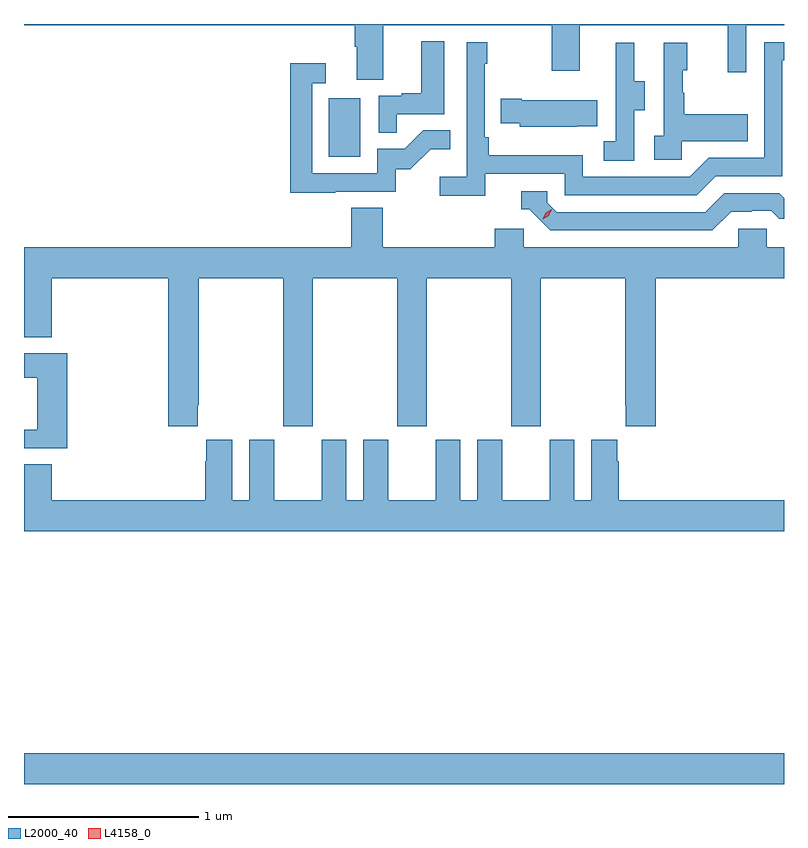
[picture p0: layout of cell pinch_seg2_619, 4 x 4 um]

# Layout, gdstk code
import gdstk
lib = gdstk.Library(unit=1e-6, precision=1e-09)
def R(c, l, rs):  # rectangles x0, y0, x1, y1
    for r in rs: c.add(gdstk.rectangle(r[:2], r[2:], *l))
def P(c, l, *ps):  # polygons
    for p in ps: c.add(gdstk.Polygon(p, *l))
L2000_40 = (2000, 40)
L4158_0 = (4158, 0)

pinch_seg2_619 = lib.new_cell('pinch_seg2_619')
R(pinch_seg2_619, L2000_40, [(1035.953,618.335,1039.953,618.496), (1037.558,621.636,1037.722,621.943)])
P(pinch_seg2_619, L2000_40, [(1037.845,622.328),(1038.73,622.328),(1038.73,622.089),(1038.877,622.089),(1038.877,622.328),(1039.658,622.328),(1039.658,622.08),(1039.755,622.08),(1039.755,622.328),(1039.953,622.328),(1039.953,622.335),(1035.953,622.335),(1035.953,622.328),(1037.693,622.328),(1037.693,622.216),(1037.705,622.216),(1037.705,622.042),(1037.845,622.042)],
  [(1037.915,621.861),(1038.166,621.861),(1038.166,622.243),(1038.044,622.243),(1038.044,621.97),(1037.941,621.97),(1037.941,621.957),(1037.82,621.957),(1037.82,621.763),(1037.915,621.763)],
  [(1038.38,621.546),(1038.798,621.546),(1038.798,621.435),(1039.495,621.435),(1039.594,621.534),(1039.944,621.534),(1039.944,622.143),(1039.953,622.143),(1039.953,622.239),(1039.848,622.239),(1039.848,621.63),(1039.557,621.63),(1039.458,621.531),(1038.894,621.531),(1038.894,621.643),(1038.398,621.643),(1038.398,621.739),(1038.378,621.739),(1038.378,622.127),(1038.391,622.127),(1038.391,622.24),(1038.282,622.24),(1038.282,621.532),(1038.141,621.532),(1038.141,621.43),(1038.38,621.43)],
  [(1039.164,621.88),(1039.219,621.88),(1039.219,622.035),(1039.165,622.035),(1039.165,622.237),(1039.067,622.237),(1039.067,622.023),(1039.068,622.023),(1039.068,621.719),(1039.005,621.719),(1039.005,621.616),(1039.164,621.616)],
  [(1039.416,621.719),(1039.763,621.719),(1039.763,621.859),(1039.429,621.859),(1039.429,621.974),(1039.419,621.974),(1039.419,622.092),(1039.444,622.092),(1039.444,622.237),(1039.32,622.237),(1039.32,621.746),(1039.269,621.746),(1039.269,621.621),(1039.416,621.621)],
  [(1037.591,621.453),(1037.91,621.453),(1037.91,621.57),(1037.986,621.57),(1038.093,621.677),(1038.197,621.677),(1038.197,621.776),(1038.054,621.776),(1037.956,621.678),(1037.811,621.678),(1037.811,621.549),(1037.469,621.549),(1037.469,622.023),(1037.542,622.023),(1037.542,622.129),(1037.353,622.129),(1037.353,621.448),(1037.591,621.448)],
  [(1038.863,621.797),(1038.971,621.797),(1038.971,621.934),(1038.574,621.934),(1038.574,621.942),(1038.463,621.942),(1038.463,621.812),(1038.561,621.812),(1038.561,621.794),(1038.863,621.794)],
  [(1039.675,621.348),(1039.782,621.348),(1039.782,621.351),(1039.885,621.351),(1039.927,621.309),(1039.953,621.309),(1039.953,621.418),(1039.927,621.444),(1039.638,621.444),(1039.539,621.345),(1038.756,621.345),(1038.708,621.393),(1038.708,621.456),(1038.569,621.456),(1038.569,621.36),(1038.612,621.36),(1038.723,621.249),(1039.576,621.249)],
  [(1036.867,620.329),(1036.872,620.329),(1036.872,620.996),(1037.317,620.996),(1037.317,620.217),(1037.472,620.217),(1037.472,620.996),(1037.917,620.996),(1037.917,620.217),(1038.072,620.217),(1038.072,620.996),(1038.517,620.996),(1038.517,620.217),(1038.672,620.217),(1038.672,620.996),(1039.117,620.996),(1039.117,620.329),(1039.121,620.329),(1039.121,620.217),(1039.277,620.217),(1039.277,620.996),(1039.953,620.996),(1039.953,621.16),(1039.863,621.16),(1039.863,621.258),(1039.713,621.258),(1039.713,621.16),(1038.582,621.16),(1038.582,621.258),(1038.43,621.258),(1038.43,621.16),(1037.84,621.16),(1037.84,621.368),(1037.675,621.368),(1037.675,621.16),(1035.953,621.16),(1035.953,620.687),(1036.1,620.687),(1036.1,620.996),(1036.712,620.996),(1036.712,620.217),(1036.867,620.217)],
  [(1036.18,620.602),(1035.953,620.602),(1035.953,620.474),(1036.022,620.474),(1036.022,620.199),(1035.953,620.199),(1035.953,620.103),(1036.18,620.103)],
  [(1038.119,620.146),(1038.119,619.828),(1037.869,619.828),(1037.869,620.146),(1037.738,620.146),(1037.738,619.828),(1037.65,619.828),(1037.65,620.146),(1037.519,620.146),(1037.519,619.828),(1037.269,619.828),(1037.269,620.146),(1037.138,620.146),(1037.138,619.828),(1037.05,619.828),(1037.05,620.146),(1036.913,620.146),(1036.913,620.033),(1036.907,620.033),(1036.907,619.828),(1036.1,619.828),(1036.1,620.018),(1035.953,620.018),(1035.953,619.664),(1039.953,619.664),(1039.953,619.828),(1039.082,619.828),(1039.082,620.033),(1039.075,620.033),(1039.075,620.146),(1038.938,620.146),(1038.938,619.828),(1038.85,619.828),(1038.85,620.146),(1038.719,620.146),(1038.719,619.828),(1038.469,619.828),(1038.469,620.146),(1038.338,620.146),(1038.338,619.828),(1038.25,619.828),(1038.25,620.146)])
P(pinch_seg2_619, L4158_0, [(1038.684,621.308),(1038.684,621.308),(1038.7,621.341),(1038.73,621.36),(1038.73,621.36),(1038.73,621.36),(1038.714,621.327),(1038.684,621.308)])

lib.write_gds('pinch_seg2_619.gds')
